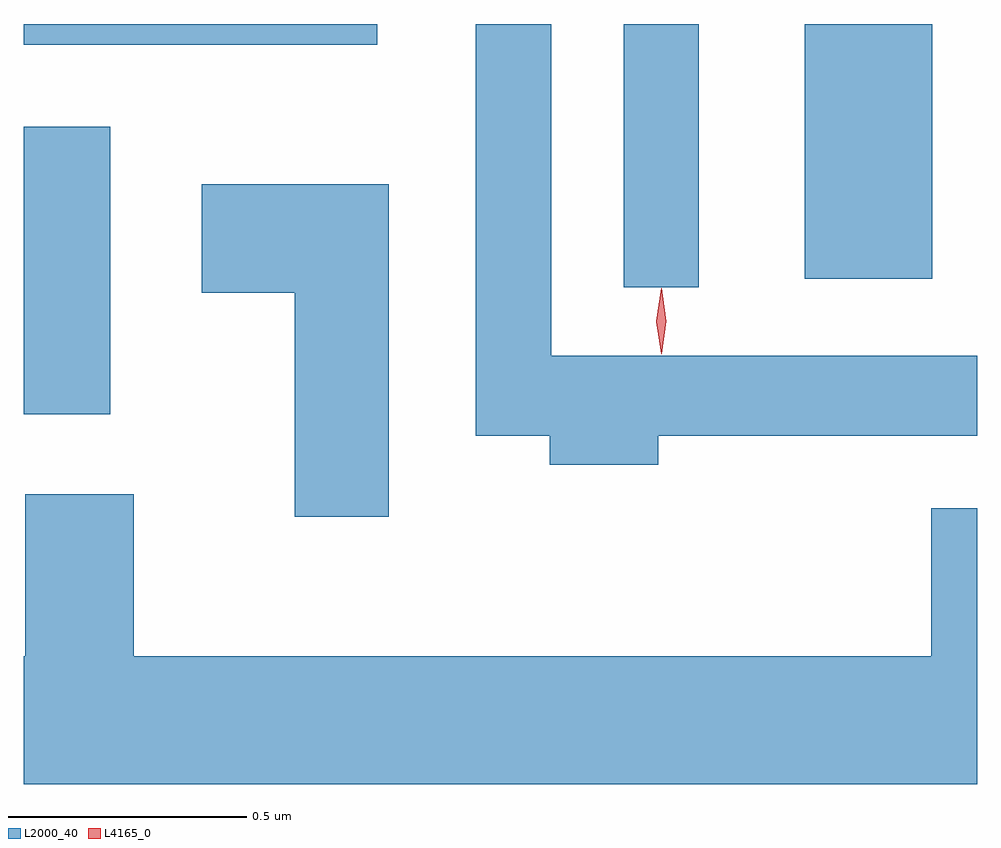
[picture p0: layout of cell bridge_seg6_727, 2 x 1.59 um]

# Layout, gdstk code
import gdstk
lib = gdstk.Library(unit=1e-6, precision=1e-09)
def R(c, l, rs):  # rectangles x0, y0, x1, y1
    for r in rs: c.add(gdstk.rectangle(r[:2], r[2:], *l))
def P(c, l, *ps):  # polygons
    for p in ps: c.add(gdstk.Polygon(p, *l))
L2000_40 = (2000, 40)
L4165_0 = (4165, 0)

bridge_seg6_727 = lib.new_cell('bridge_seg6_727')
R(bridge_seg6_727, L2000_40, [(306.488,1579.671,306.669,1580.274), (307.746,1579.938,307.904,1580.49), (308.126,1579.956,308.394,1580.49), (306.488,1580.446,307.229,1580.49)])
P(bridge_seg6_727, L2000_40, [(307.819,1579.626),(308.488,1579.626),(308.488,1579.794),(307.594,1579.794),(307.594,1580.49),(307.436,1580.49),(307.436,1579.626),(307.591,1579.626),(307.591,1579.566),(307.819,1579.566)],
  [(307.254,1580.154),(306.861,1580.154),(306.861,1579.926),(307.056,1579.926),(307.056,1579.456),(307.254,1579.456)],
  [(308.488,1579.474),(308.391,1579.474),(308.391,1579.164),(306.719,1579.164),(306.719,1579.504),(306.491,1579.504),(306.491,1579.164),(306.488,1579.164),(306.488,1578.896),(308.488,1578.896)])
P(bridge_seg6_727, L4165_0, [(307.826,1579.797),(307.825,1579.798),(307.815,1579.867),(307.825,1579.936),(307.826,1579.936),(307.826,1579.936),(307.836,1579.867),(307.826,1579.798)],
  [(307.825,1579.799),(307.825,1579.8),(307.815,1579.866),(307.825,1579.932),(307.825,1579.933),(307.826,1579.932),(307.835,1579.866),(307.826,1579.8)])

lib.write_gds('bridge_seg6_727.gds')
